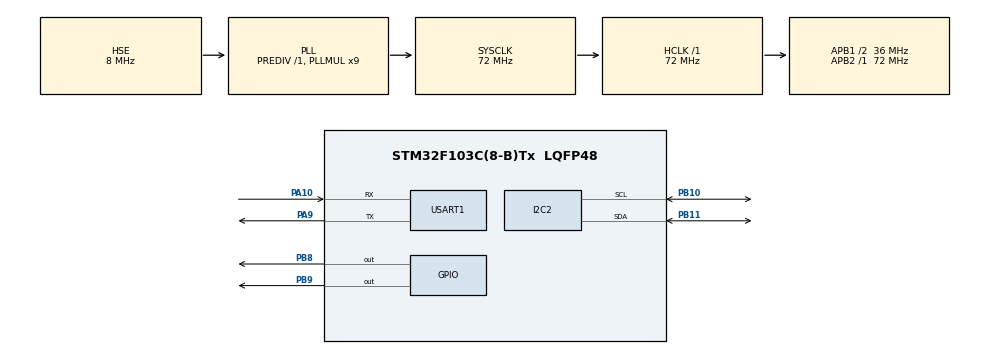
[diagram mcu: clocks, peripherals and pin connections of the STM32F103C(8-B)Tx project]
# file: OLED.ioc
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FREERTOS.Queues01=myQueue,10,6,1,Dynamic,NULL,NULL
FREERTOS.Tasks01=defaultTask,24,128,StartDefaultTask,Default,NULL,Dynamic,NULL,NULL;AcquireTask,32,256,StartAcquireTask,Default,NULL,Dynamic,NULL,NULL;InferTask,24,512,StartInferTask,Default,NULL,Dynamic,NULL,NULL
FREERTOS.configTOTAL_HEAP_SIZE=4096
Mcu.Family=STM32F1
Mcu.Name=STM32F103C(8-B)Tx
Mcu.Package=LQFP48
NVIC.PriorityGroup=NVIC_PRIORITYGROUP_4
NVIC.TIM2_IRQn=true\:15\:0\:false\:false\:true\:false\:false\:true\:true
NVIC.TIM3_IRQn=true\:5\:0\:false\:false\:true\:true\:true\:true\:true
NVIC.TimeBase=TIM2_IRQn
NVIC.TimeBaseIP=TIM2
PA10.Mode=Asynchronous
PA10.Signal=USART1_RX
PA13.Mode=Serial_Wire
PA13.Signal=SYS_JTMS-SWDIO
PA14.Mode=Serial_Wire
PA14.Signal=SYS_JTCK-SWCLK
PA9.Mode=Asynchronous
PA9.Signal=USART1_TX
PB10.Mode=I2C
PB10.Signal=I2C2_SCL
PB11.Mode=I2C
PB11.Signal=I2C2_SDA
PB8.GPIO_ModeDefaultOutputPP=GPIO_MODE_OUTPUT_OD
PB8.GPIO_PuPd=GPIO_NOPULL
PB8.PinState=GPIO_PIN_SET
PB8.Signal=GPIO_Output
PB9.GPIO_ModeDefaultOutputPP=GPIO_MODE_OUTPUT_OD
PB9.GPIO_PuPd=GPIO_NOPULL
PB9.PinState=GPIO_PIN_SET
PB9.Signal=GPIO_Output
PD0-OSC_IN.Mode=HSE-External-Oscillator
PD0-OSC_IN.Signal=RCC_OSC_IN
PD1-OSC_OUT.Mode=HSE-External-Oscillator
PD1-OSC_OUT.Signal=RCC_OSC_OUT
ProjectManager.HeapSize=0x800
ProjectManager.StackSize=0x1000
ProjectManager.TargetToolchain=MDK-ARM V5.32
RCC.AHBFreq_Value=72000000
RCC.APB1CLKDivider=RCC_HCLK_DIV2
RCC.APB1Freq_Value=36000000
RCC.APB1TimFreq_Value=72000000
RCC.APB2Freq_Value=72000000
RCC.APB2TimFreq_Value=72000000
RCC.HCLKFreq_Value=72000000
RCC.PLLMUL=RCC_PLL_MUL9
RCC.PLLSourceVirtual=RCC_PLLSOURCE_HSE
RCC.SYSCLKFreq_VALUE=72000000
RCC.SYSCLKSource=RCC_SYSCLKSOURCE_PLLCLK
RCC.USBFreq_Value=72000000
TIM3.Period=99
TIM3.Prescaler=7199
USART1.VirtualMode=VM_ASYNC
VP_FREERTOS_VS_CMSIS_V2.Mode=CMSIS_V2
VP_SYS_VS_tim2.Mode=TIM2
VP_TIM3_VS_ClockSourceINT.Mode=Internal
board=custom

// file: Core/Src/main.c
/* USER CODE BEGIN Header */
/**
  ******************************************************************************
  * @file           : main.c
  * @brief          : MPU6050 + FreeRTOS acquisition (no inference)
  ******************************************************************************
  */
/* USER CODE END Header */
#include "main.h"
#include "cmsis_os.h"
#include "i2c.h"
#include "tim.h"
#include "usart.h"
#include "gpio.h"

/* USER CODE BEGIN Includes */
#include "OLED_hal.h"
#include "OLED_hal_font.h"
#include "I2C_mpu.h"
#include <stdio.h>
#include "usart_transmit.h"
/* USER CODE END Includes */

/* USER CODE BEGIN PV */
extern osMessageQueueId_t myQueueHandle;
/* USER CODE END PV */

void SystemClock_Config(void);
void MX_FREERTOS_Init(void);

int main(void)
{
  HAL_Init();
  SystemClock_Config();

  MX_GPIO_Init();
  MX_I2C2_Init();
  MX_TIM3_Init();
  MX_USART1_UART_Init();

  uart_send_str("Clock OK!\r\n");

  /* USER CODE BEGIN 2 */
  OLED_Init();
  OLED_Clear();

  MPU6050_Init(&hi2c2);

  uart_send_str("All Hardware Init OK!\r\n");
  /* USER CODE END 2 */

  osKernelInitialize();
  MX_FREERTOS_Init();              /* creates queue + tasks */

  /* start sampling only after the queue exists */
  HAL_TIM_Base_Start_IT(&htim3);

  uart_send_str("Starting FreeRTOS...\r\n");

  osKernelStart();

  while (1)
  {
  }
}

void SystemClock_Config(void)
{
  RCC_OscInitTypeDef RCC_OscInitStruct = {0};
  RCC_ClkInitTypeDef RCC_ClkInitStruct = {0};

  RCC_OscInitStruct.OscillatorType = RCC_OSCILLATORTYPE_HSE;
  RCC_OscInitStruct.HSEState = RCC_HSE_ON;
  RCC_OscInitStruct.HSEPredivValue = RCC_HSE_PREDIV_DIV1;
  RCC_OscInitStruct.HSIState = RCC_HSI_ON;
  RCC_OscInitStruct.PLL.PLLState = RCC_PLL_ON;
  RCC_OscInitStruct.PLL.PLLSource = RCC_PLLSOURCE_HSE;
  RCC_OscInitStruct.PLL.PLLMUL = RCC_PLL_MUL9;
  if (HAL_RCC_OscConfig(&RCC_OscInitStruct) != HAL_OK)
  {
    Error_Handler();
  }

  RCC_ClkInitStruct.ClockType = RCC_CLOCKTYPE_HCLK | RCC_CLOCKTYPE_SYSCLK
                              | RCC_CLOCKTYPE_PCLK1 | RCC_CLOCKTYPE_PCLK2;
  RCC_ClkInitStruct.SYSCLKSource = RCC_SYSCLKSOURCE_PLLCLK;
  RCC_ClkInitStruct.AHBCLKDivider = RCC_SYSCLK_DIV1;
  RCC_ClkInitStruct.APB1CLKDivider = RCC_HCLK_DIV2;
  RCC_ClkInitStruct.APB2CLKDivider = RCC_HCLK_DIV1;

  if (HAL_RCC_ClockConfig(&RCC_ClkInitStruct, FLASH_LATENCY_2) != HAL_OK)
  {
    Error_Handler();
  }
}

/* USER CODE BEGIN 4 */

/**
  * @brief  TIM update callback.
  *         TIM2 is the HAL time base: HAL_IncTick() must be called here,
  *         otherwise HAL_GetTick()/HAL_Delay()/all HAL timeouts freeze.
  */
void HAL_TIM_PeriodElapsedCallback(TIM_HandleTypeDef *htim)
{
  if (htim->Instance == TIM2)
  {
    HAL_IncTick();
  }

  if (htim == &htim3)
  {
    MPU6050_ReadData(&hi2c2);

    AccSample_t sample;
    sample.x = MPU6050_Data.AccX;
    sample.y = MPU6050_Data.AccY;
    sample.z = MPU6050_Data.AccZ;

    /* ISR-safe queue send, never block */
    osMessageQueuePut(myQueueHandle, &sample, 0, 0);
  }
}
/* USER CODE END 4 */

void Error_Handler(void)
{
  __disable_irq();
  while (1)
  {
  }
}

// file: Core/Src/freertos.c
/* USER CODE BEGIN Header */
/**
  ******************************************************************************
  * File Name          : freertos.c
  * Description        : Code for freertos applications
  ******************************************************************************
  * @attention
  *
  * Copyright (c) 2026 STMicroelectronics.
  * All rights reserved.
  *
  * This software is licensed under terms that can be found in the LICENSE file
  * in the root directory of this software component.
  * If no LICENSE file comes with this software, it is provided AS-IS.
  *
  ******************************************************************************
  */
/* USER CODE END Header */

#include "FreeRTOS.h"
#include "task.h"
#include "main.h"
#include "cmsis_os.h"

/* USER CODE BEGIN Includes */
#include "I2C_mpu.h"
#include "usart_transmit.h"
/* USER CODE END Includes */

/* USER CODE BEGIN Variables */
int16_t test_buf[200][3];

/* USER CODE END Variables */
/* Definitions for defaultTask */
osThreadId_t defaultTaskHandle;
const osThreadAttr_t defaultTask_attributes = {
  .name = "defaultTask",
  .stack_size = 128 * 4,
  .priority = (osPriority_t) osPriorityNormal,
};
/* Definitions for AcquireTask */
osThreadId_t AcquireTaskHandle;
const osThreadAttr_t AcquireTask_attributes = {
  .name = "AcquireTask",
  .stack_size = 256 * 4,
  .priority = (osPriority_t) osPriorityAboveNormal,
};
/* Definitions for InferTask */
osThreadId_t InferTaskHandle;
const osThreadAttr_t InferTask_attributes = {
  .name = "InferTask",
  .stack_size = 512 * 4,
  .priority = (osPriority_t) osPriorityNormal,
};
/* Definitions for myQueue */
osMessageQueueId_t myQueueHandle;
const osMessageQueueAttr_t myQueue_attributes = {
  .name = "myQueue"
};

void StartDefaultTask(void *argument);
void StartAcquireTask(void *argument);
void StartInferTask(void *argument);

void MX_FREERTOS_Init(void); /* (MISRA C 2004 rule 8.1) */

void MX_FREERTOS_Init(void) {

  /* Create the queue(s) */
  /* creation of myQueue */
  myQueueHandle = osMessageQueueNew (10, 6, &myQueue_attributes);

  /* Create the thread(s) */
  /* creation of defaultTask */
  defaultTaskHandle = osThreadNew(StartDefaultTask, NULL, &defaultTask_attributes);

  /* creation of AcquireTask */
  AcquireTaskHandle = osThreadNew(StartAcquireTask, NULL, &AcquireTask_attributes);

  /* creation of InferTask */
  InferTaskHandle = osThreadNew(StartInferTask, NULL, &InferTask_attributes);

}

void StartDefaultTask(void *argument)
{
  for(;;)
  {
    osDelay(1);
  }
}

void StartAcquireTask(void *argument)
{
  /* USER CODE BEGIN StartAcquireTask */
	  AccSample_t sample;
		uint16_t count = 0;
	// 从队列取数据
       for(;;)
    {
        // 从队列取数据（如果没有数据，这里会自动挂起等待，不占CPU）
        if (osMessageQueueGet(myQueueHandle, &sample, NULL, 100) == osOK)
        {
            // 把数据存进测试数组里
            test_buf[count][0] = sample.x;
            test_buf[count][1] = sample.y;
            test_buf[count][2] = sample.z;

            count++;

            // 攒满 200 个
            if (count >= 200)
            {
                count = 0;
                uart_send_str("---WINDOW_START---\r\n");

                // 把这一批数据通过串口发出去
                for (int i = 0; i < 200; i++) {
                    uart_send_int(test_buf[i][0]);
                    uart_send_str(",");
                    uart_send_int(test_buf[i][1]);
                    uart_send_str(",");
                    uart_send_int(test_buf[i][2]);
                    uart_send_str("\r\n");
                }
                uart_send_str("---WINDOW_END---\r\n");
            }
        }
    }
  /* USER CODE END StartAcquireTask */
}

void StartInferTask(void *argument)
{
  /* USER CODE BEGIN StartInferTask */
  /* Infinite loop */
  for(;;)
  {
		// 暂时空跑，以后这里接 Edge Impulse 的推理代码
    osDelay(1000);
  }
  /* USER CODE END StartInferTask */
}
